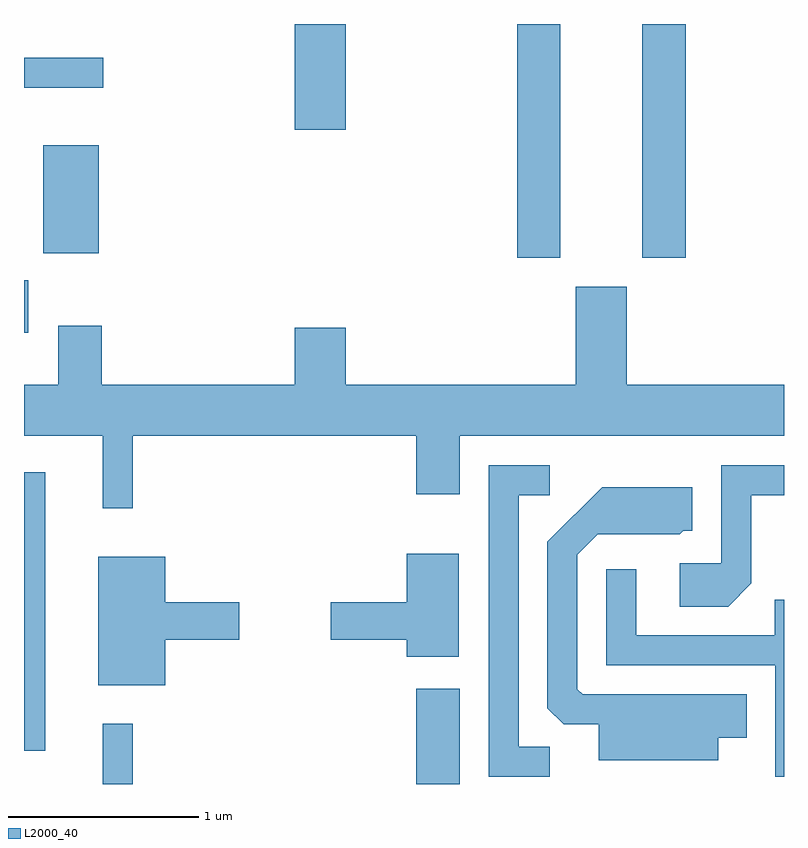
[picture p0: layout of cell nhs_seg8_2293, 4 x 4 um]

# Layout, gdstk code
import gdstk
lib = gdstk.Library(unit=1e-6, precision=1e-09)
def R(c, l, rs):  # rectangles x0, y0, x1, y1
    for r in rs: c.add(gdstk.rectangle(r[:2], r[2:], *l))
def P(c, l, *ps):  # polygons
    for p in ps: c.add(gdstk.Polygon(p, *l))
L2000_40 = (2000, 40)

nhs_seg8_2293 = lib.new_cell('nhs_seg8_2293')
R(nhs_seg8_2293, L2000_40, [(254.026,1852.342,254.184,1852.658), (255.676,1852.342,255.904,1852.844), (253.611,1852.516,253.724,1853.983), (253.611,1854.716,253.634,1854.994), (256.206,1855.111,256.434,1856.342), (256.866,1855.111,257.094,1856.342), (253.711,1855.136,254.004,1855.704), (255.036,1855.786,255.304,1856.342), (253.611,1856.006,254.028,1856.164)])
P(nhs_seg8_2293, L2000_40, [(254.184,1854.176),(255.676,1854.176),(255.676,1853.866),(255.904,1853.866),(255.904,1854.176),(257.611,1854.176),(257.611,1854.444),(256.784,1854.444),(256.784,1854.959),(256.516,1854.959),(256.516,1854.444),(255.304,1854.444),(255.304,1854.744),(255.036,1854.744),(255.036,1854.444),(254.019,1854.444),(254.019,1854.754),(253.791,1854.754),(253.791,1854.444),(253.611,1854.444),(253.611,1854.176),(254.026,1854.176),(254.026,1853.793),(254.184,1853.793)],
  [(257.439,1853.399),(257.439,1853.861),(257.611,1853.861),(257.611,1854.019),(257.281,1854.019),(257.281,1853.504),(257.061,1853.504),(257.061,1853.276),(257.317,1853.276)],
  [(256.378,1852.539),(256.214,1852.539),(256.214,1853.861),(256.378,1853.861),(256.378,1854.019),(256.056,1854.019),(256.056,1852.381),(256.378,1852.381)],
  [(257.264,1852.586),(257.414,1852.586),(257.414,1852.814),(256.552,1852.814),(256.524,1852.842),(256.524,1853.549),(256.632,1853.656),(257.062,1853.656),(257.082,1853.676),(257.129,1853.676),(257.129,1853.904),(256.654,1853.904),(256.366,1853.617),(256.366,1852.742),(256.452,1852.656),(256.636,1852.656),(256.636,1852.466),(257.264,1852.466)],
  [(255.899,1853.554),(255.626,1853.554),(255.626,1853.299),(255.226,1853.299),(255.226,1853.101),(255.626,1853.101),(255.626,1853.011),(255.899,1853.011)],
  [(254.354,1853.101),(254.744,1853.101),(254.744,1853.299),(254.354,1853.299),(254.354,1853.539),(254.001,1853.539),(254.001,1852.861),(254.354,1852.861)],
  [(257.611,1853.313),(257.561,1853.313),(257.561,1853.124),(256.834,1853.124),(256.834,1853.473),(256.676,1853.473),(256.676,1852.966),(257.566,1852.966),(257.566,1852.381),(257.611,1852.381)])

lib.write_gds('nhs_seg8_2293.gds')
